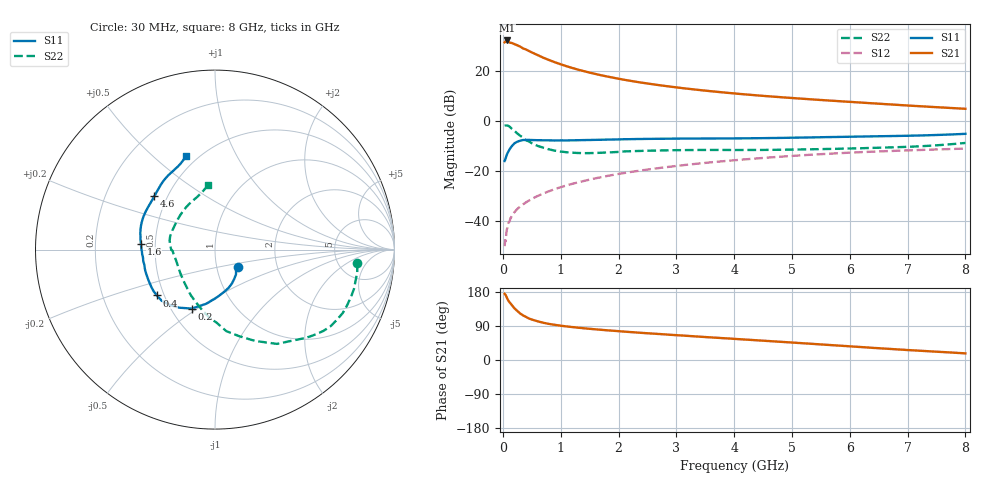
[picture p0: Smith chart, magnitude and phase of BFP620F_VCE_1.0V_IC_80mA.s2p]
! Infineon Technologies  Discrete & RF Semiconductors
! BFP620F
! VCE =  1.0 V,  IC =  80 mA
! Common Emitter S-Parameters:  Dec 2014
# GHz  S  MA  R  50
!  f  S11  S21  S12  S22
! GHz  MAG  ANG  MAG  ANG  MAG  ANG  MAG  ANG
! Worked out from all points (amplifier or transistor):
!   95 points, 30 MHz to 8 GHz, reference 50 ohm
!   highest |S21| = 32.1 dB at 70 MHz (marker M1)
!   |S21| within 3 dB of that: start of sweep to 336.4 MHz
!   unconditionally stable (mu >= 1): start of sweep to 51.51 MHz; 1.251 GHz to end of sweep
!   at 300 MHz: K = 0.66, MSG = 31.9 dB, |S12| = -34.2 dB
!   at 3.3 GHz: K = 1.05, MAG = 13.6 dB, |S12| = -17.3 dB
!   at 8 GHz: K = 1.07, MAG = 6.4 dB, |S12| = -11.2 dB
!   S11 on the Smith chart (normalised r, x): 30 MHz: 1.26, -0.24; 200 MHz: 0.63, -0.48; 400 MHz: 0.46, -0.28; 1.6 GHz: 0.41, +0.03; 4.6 GHz: 0.42, +0.32; 8 GHz: 0.43, +0.64
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0.03  0.157 -36.9  36.93 174.6  0.0031 85.5  0.7969 -5.5
0.04  0.1651 -44.6  37.63 173.0  0.0041 84.2  0.8026 -9.2
0.05  0.1811 -49.8  39.49 171.0  0.0039 95.1  0.8025 -12.7
0.07  0.2113 -63.6  40.3 164.0  0.0068 83.3  0.8021 -19.4
0.1  0.2471 -80.7  38.11 155.5  0.0093 74.1  0.7841 -29.8
0.12  0.2721 -89.7  36.42 151.3  0.0099 73.7  0.7555 -36.8
0.15  0.3054 -99.1  36.09 145.9  0.0126 72.0  0.6996 -44.9
0.2  0.3532 -111.5  34 136.3  0.0148 66.8  0.6285 -56.7
0.3  0.3989 -129.6  30.32 122.6  0.0194 65.5  0.5002 -74.5
0.35  0.4117 -136.1  27.89 117.6  0.0213 66.0  0.4587 -82.1
0.4  0.4126 -141.7  26.57 113.7  0.0233 65.0  0.4074 -88.7
0.5  0.4113 -149.7  23.25 106.9  0.0273 66.2  0.3557 -99.8
0.7  0.4064 -160.7  18.19 98.2  0.0351 67.3  0.2884 -117.7
1  0.4047 -171.0  13.45 90.5  0.0469 67.6  0.2417 -138.5
1.4  0.4102 179.5  9.817 83.7  0.0624 67.1  0.2248 -159.9
1.6  0.4144 175.6  8.622 81.0  0.0705 66.4  0.2267 -167.9
2.7  0.4357 159.6  5.15 68.6  0.1131 60.1  0.2539 171.6
4.1  0.4441 143.6  3.435 54.8  0.1657 50.4  0.2597 156.9
4.6  0.4504 138.6  3.079 50.0  0.1837 46.5  0.2614 150.0
5.4  0.4656 131.8  2.646 42.1  0.2112 40.0  0.2695 138.4
6.7  0.4934 119.7  2.119 29.2  0.2479 29.1  0.293 118.7
8  0.547 107.2  1.733 17.5  0.2768 18.8  0.3594 96.2
